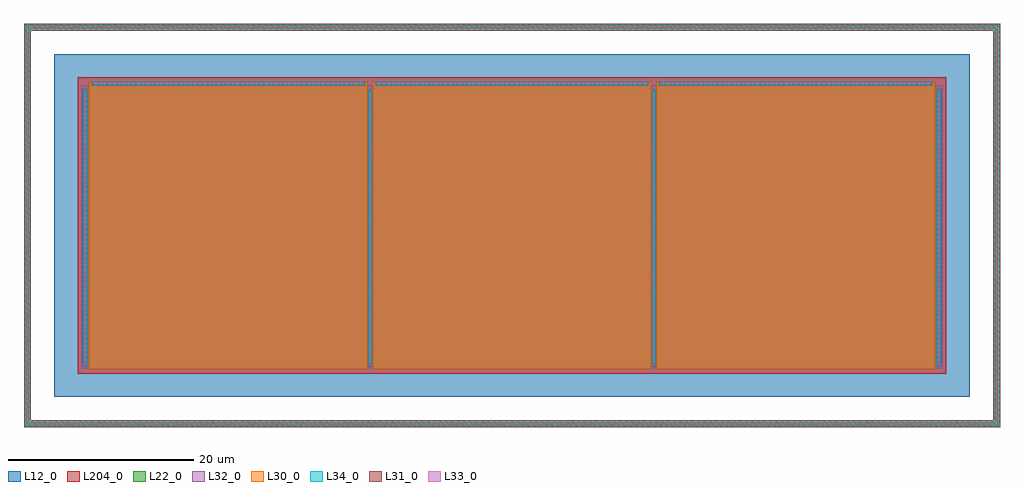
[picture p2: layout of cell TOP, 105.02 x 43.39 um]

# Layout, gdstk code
import gdstk
lib = gdstk.Library(unit=1e-6, precision=1e-09)
def R(c, l, rs):  # rectangles x0, y0, x1, y1
    for r in rs: c.add(gdstk.rectangle(r[:2], r[2:], *l))
def A(c, l, x, y, w, h, nx, ny, dx, dy):  # array of equal rectangles
    R(c, l, [(x+i*dx, y+j*dy, x+i*dx+w, y+j*dy+h) for i in range(nx) for j in range(ny)])
def P(c, l, *ps):  # polygons
    for p in ps: c.add(gdstk.Polygon(p, *l))
L12_0 = (12, 0)
L22_0 = (22, 0)
L30_0 = (30, 0)
L31_0 = (31, 0)
L32_0 = (32, 0)
L33_0 = (33, 0)
L34_0 = (34, 0)
L204_0 = (204, 0)

nfet_4 = lib.new_cell('nfet$4')
R(nfet_4, L12_0, [(-3.55,-3.26,94.97,33.63)])
R(nfet_4, L22_0, [(-0.42,0,0,30), (0,0,91.42,30), (91.42,0,91.84,30)])
P(nfet_4, L22_0, [(-6.63,-6.34),(-6.63,36.33),(-6.25,36.33),(-6.25,-5.96),(97.67,-5.96),(97.67,36.33),(-6.63,36.33),(-6.63,36.71),(98.05,36.71),(98.05,-6.34)])
A(nfet_4, L30_0, 0.19, -0.3, 30, 30.6, 3, 1, 30.52, 0)
A(nfet_4, L30_0, 0.19, 30.3, 30, 0.36, 3, 1, 30.52, 0)
P(nfet_4, L31_0, [(-6.8,-6.51),(-6.8,36.16),(-6.08,36.16),(-6.08,-5.79),(97.5,-5.79),(97.5,36.16),(-6.8,36.16),(-6.8,36.88),(98.22,36.88),(98.22,-6.51)])
R(nfet_4, L32_0, [(-0.59,-0.24,92.01,30.24)])
A(nfet_4, L33_0, -5.655, -6.26, 0.22, 0.22, 202, 2, 0.51, 42.67)
A(nfet_4, L33_0, -6.55, -5.58, 0.22, 0.22, 1, 82, 0, 0.51)
A(nfet_4, L33_0, 97.75, -5.58, 0.22, 0.22, 1, 82, 0, 0.51)
A(nfet_4, L33_0, -0.32, 0.355, 0.22, 0.22, 1, 58, 0, 0.51)
A(nfet_4, L33_0, 30.34, 0.355, 0.22, 0.22, 1, 58, 0, 0.51)
A(nfet_4, L33_0, 60.86, 0.355, 0.22, 0.22, 1, 58, 0, 0.51)
A(nfet_4, L33_0, 91.52, 0.355, 0.22, 0.22, 1, 58, 0, 0.51)
A(nfet_4, L33_0, 0.545, 30.37, 0.22, 0.22, 58, 1, 0.51, 0)
A(nfet_4, L33_0, 31.065, 30.37, 0.22, 0.22, 58, 1, 0.51, 0)
A(nfet_4, L33_0, 61.585, 30.37, 0.22, 0.22, 58, 1, 0.51, 0)
A(nfet_4, L34_0, 0.465, 30.29, 29.45, 0.38, 3, 1, 30.52, 0)
R(nfet_4, L34_0, [(-0.4,0.275,-0.02,29.725), (30.26,0.275,30.64,29.725), (60.78,0.275,61.16,29.725), (91.44,0.275,91.82,29.725)])
R(nfet_4, L204_0, [(-1.04,-0.75,92.46,31.12)])

top = lib.new_cell('TOP')
R(top, L34_0, [(215.96,60.34,216.68,103.73), (216.68,60.34,320.98,61.06), (320.26,61.06,320.98,103.73), (216.68,103.01,320.26,103.73)])
top.add(gdstk.Reference(nfet_4, (222.76,66.85)))

lib.write_gds('TOP.gds')
